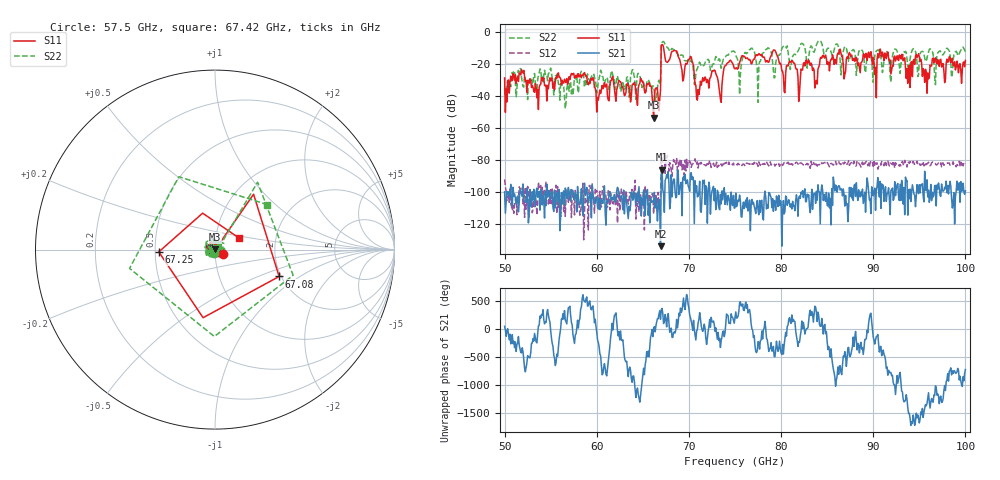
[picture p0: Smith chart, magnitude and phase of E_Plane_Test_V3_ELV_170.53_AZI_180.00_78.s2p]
! 11/26/2026 4:52:03 PM
! C:\ANRITSUVNA\TEMP\TEMP.S2P
! CHANNEL.1
! TR.MEASUREMENT
! RAW.DATA
# HZ S RI R 50.0
! FREQ.HZ  S11RE  S11IM  S21RE  S21IM  S12RE  S12IM  S22RE  S22IM
!; PortSelection: Port_12
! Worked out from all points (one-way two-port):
!   601 points, 50 GHz to 100 GHz, reference 50 ohm
!   highest |S21| = -86.28 dB at 67.08 GHz (marker M1); lowest = -134.0 dB at 66.92 GHz (marker M2)
!   lowest |S11| = -53.8 dB at 66.17 GHz (marker M3), VSWR 1.00, Z = 50.1 + j0.15 ohm
!   |S11| at or under -10 dB: start of sweep to 67 GHz; 67.25 GHz to end of sweep
!   |S22| runs from -48.2 to -5.6 dB; largest |S21 - S12| = 0.00016
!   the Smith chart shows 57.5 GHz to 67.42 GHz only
!   S11 on the Smith chart (normalised r, x): 57.5 GHz: 1.09, -0.05; 67.08 GHz: 1.95, -0.69; 67.25 GHz: 0.52, -0.01; 67.42 GHz: 1.29, +0.17
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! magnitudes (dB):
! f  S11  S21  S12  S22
! 50 GHz  -28.9  -100.1  -92.3  -35.7
! 51.67 GHz  -26.3  -98.3  -98.2  -23.2
! 57.5 GHz  -26.1  -104.8  -103.7  -34.6
! 58.42 GHz  -27.1  -109.8  -101.5  -24.7
! 60.17 GHz  -42.8  -110.8  -107.4  -30.4
! 66.17 GHz  -53.8  -106.9  -113.9  -34.0
! 66.67 GHz  -41.5  -108.8  -100.4  -31.6
! 66.92 GHz  -37.0  -134.0  -103.9  -32.7
! 67.08 GHz  -8.2  -86.3  -90.3  -6.8
! 67.25 GHz  -10.1  -101.2  -80.2  -6.2
! 67.42 GHz  -16.6  -93.1  -88.5  -8.3
! 70.25 GHz  -15.9  -88.1  -84.8  -18.8
! 70.92 GHz  -42.8  -103.2  -81.4  -23.1
! 75 GHz  -23.3  -110.0  -83.3  -13.0
! 79.25 GHz  -11.5  -105.5  -82.5  -29.0
! 80.25 GHz  -27.8  -105.6  -82.8  -9.3
! 83.42 GHz  -24.4  -111.0  -82.2  -10.8
! 91.67 GHz  -16.6  -97.6  -82.6  -15.2
! 93.75 GHz  -32.4  -114.6  -81.2  -21.3
! 94.83 GHz  -15.1  -99.2  -82.5  -28.1
! 95.83 GHz  -38.5  -92.6  -82.8  -16.6
! 100 GHz  -18.1  -99.4  -82.4  -12.5
